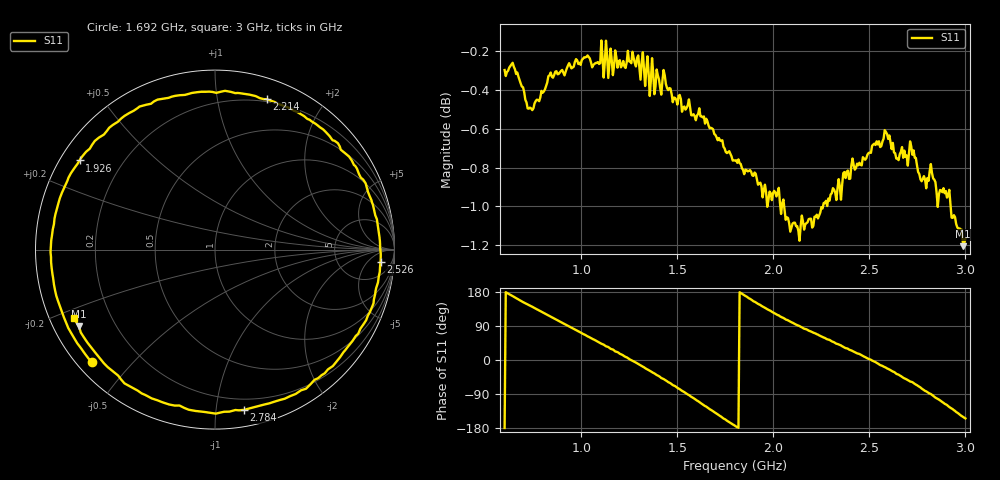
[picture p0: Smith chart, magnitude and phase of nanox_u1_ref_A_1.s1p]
! nanovna_capture.py 2026-10-18T19:25:18+0900
! NanoVNA-F_V2 fw 0.6.0 SN 4A3639384505514B
! cal: load open short cal'ed  over 600000000-3000000000 Hz, 201 points
! points 401, avg 4
! genuine Nano X u1, position A (behind left button), tip touching shell, placement 1
# HZ S RI R 50
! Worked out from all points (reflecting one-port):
!   401 points, 600 MHz to 3 GHz, reference 50 ohm
!   lowest |S11| = -1.2 dB at 2.988 GHz (marker M1), VSWR 14.43, Z = 3.7 - j13.1 ohm
!   phase of S11 starts at -179 deg and turns -695 deg over the sweep
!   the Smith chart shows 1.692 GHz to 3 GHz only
!   S11 on the Smith chart (normalised r, x): 1.692 GHz: 0.04, -0.39; 1.926 GHz: 0.06, +0.30; 2.214 GHz: 0.18, +1.39; 2.526 GHz: 13, -13; 2.784 GHz: 0.12, -1.19; 3 GHz: 0.07, -0.23
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6e8  -0.9663 -0.0102
6.6e8  -0.9219 0.2822
7.5e8  -0.7115 0.6213
8.34e8  -0.4279 0.8631
9e8  -0.1359 0.9568
1.032e9  0.4508 0.8643
1.116e9  0.7322 0.6241
1.2e9  0.9321 0.2757
1.266e9  0.9762 -0.0378
1.332e9  0.8909 -0.3503
1.422e9  0.6323 -0.7226
1.5e9  0.2695 -0.9076
1.602e9  -0.275 -0.8995
1.692e9  -0.6856 -0.6289
1.8e9  -0.9103 -0.1004
1.926e9  -0.7547 0.4967
2.016e9  -0.4526 0.7738
2.1e9  -0.1282 0.8728
2.214e9  0.2874 0.8379
2.304e9  0.5864 0.6803
2.4e9  0.8126 0.4007
2.526e9  0.9224 -0.0695
2.598e9  0.8511 -0.369
2.7e9  0.5544 -0.7255
2.784e9  0.1613 -0.8929
2.892e9  -0.3881 -0.81
2.988e9  -0.758 -0.4278
3e9  -0.7868 -0.3811
